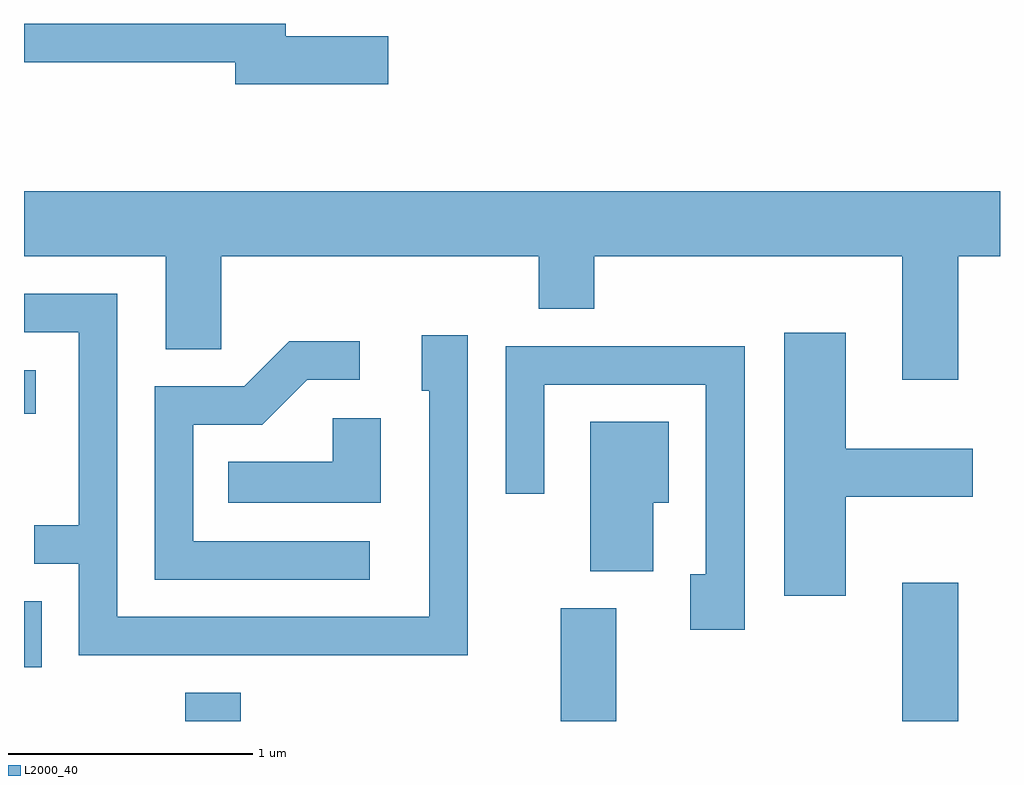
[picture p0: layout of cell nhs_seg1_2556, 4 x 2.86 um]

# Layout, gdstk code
import gdstk
lib = gdstk.Library(unit=1e-6, precision=1e-09)
def R(c, l, rs):  # rectangles x0, y0, x1, y1
    for r in rs: c.add(gdstk.rectangle(r[:2], r[2:], *l))
def P(c, l, *ps):  # polygons
    for p in ps: c.add(gdstk.Polygon(p, *l))
L2000_40 = (2000, 40)

nhs_seg1_2556 = lib.new_cell('nhs_seg1_2556')
R(nhs_seg1_2556, L2000_40, [(264.271,857.712,264.499,857.829), (265.811,857.712,266.039,858.174), (267.211,857.712,267.439,858.279), (263.611,857.933,263.684,858.204), (263.611,858.971,263.659,859.149)])
P(nhs_seg1_2556, L2000_40, [(265.104,860.519),(264.684,860.519),(264.684,860.569),(263.611,860.569),(263.611,860.411),(264.476,860.411),(264.476,860.321),(265.104,860.321)],
  [(267.439,859.616),(267.611,859.616),(267.611,859.884),(263.611,859.884),(263.611,859.616),(264.191,859.616),(264.191,859.236),(264.419,859.236),(264.419,859.616),(265.721,859.616),(265.721,859.401),(265.949,859.401),(265.949,859.616),(267.211,859.616),(267.211,859.111),(267.439,859.111)],
  [(265.429,859.294),(265.241,859.294),(265.241,859.066),(265.271,859.066),(265.271,858.139),(263.994,858.139),(263.994,859.464),(263.611,859.464),(263.611,859.306),(263.836,859.306),(263.836,858.514),(263.653,858.514),(263.653,858.356),(263.836,858.356),(263.836,857.981),(265.429,857.981)],
  [(266.979,858.631),(267.499,858.631),(267.499,858.829),(266.979,858.829),(266.979,859.304),(266.726,859.304),(266.726,858.226),(266.979,858.226)],
  [(265.028,858.449),(264.304,858.449),(264.304,858.926),(264.587,858.926),(264.772,859.111),(264.988,859.111),(264.988,859.269),(264.699,859.269),(264.514,859.084),(264.146,859.084),(264.146,858.291),(265.028,858.291)],
  [(266.564,859.249),(265.586,859.249),(265.586,858.643),(265.744,858.643),(265.744,859.091),(266.406,859.091),(266.406,858.314),(266.341,858.314),(266.341,858.086),(266.564,858.086)],
  [(265.074,858.954),(264.876,858.954),(264.876,858.774),(264.448,858.774),(264.448,858.606),(265.074,858.606)],
  [(266.189,858.606),(266.254,858.606),(266.254,858.939),(265.931,858.939),(265.931,858.326),(266.189,858.326)])

lib.write_gds('nhs_seg1_2556.gds')
